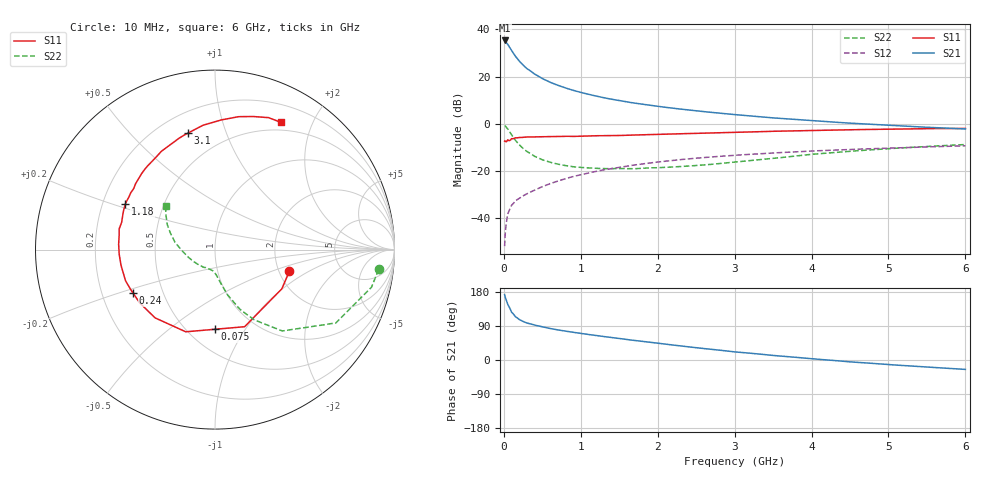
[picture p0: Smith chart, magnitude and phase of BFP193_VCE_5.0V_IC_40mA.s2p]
! Infineon Technologies  Discrete & RF Semiconductors
! BFP193
! VCE = 5.0 V,  IC =  40 mA
! Common Emitter S-Parameters:  Jan 2016
# GHz  S  MA  R  50
!  f  S11  S21  S12  S22
! GHz  MAG  ANG  MAG  ANG  MAG  ANG  MAG  ANG
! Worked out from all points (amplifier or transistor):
!   210 points, 10 MHz to 6 GHz, reference 50 ohm
!   highest |S21| = 35.2 dB at 10 MHz (marker M1)
!   |S21| within 3 dB of that: start of sweep to 76.07 MHz
!   unconditionally stable (mu >= 1): 610 MHz to 3.912 GHz
!   at 185 MHz: K = 0.63, MSG = 29.5 dB, |S12| = -31.8 dB
!   at 1.52 GHz: K = 1.07, MAG = 12.4 dB, |S12| = -18.3 dB
!   at 6 GHz: K = 0.94, MSG = 3.6 dB, |S12| = -9.3 dB
!   S11 on the Smith chart (normalised r, x): 10 MHz: 2.28, -0.67; 75 MHz: 0.67, -0.74; 240 MHz: 0.34, -0.22; 1.18 GHz: 0.30, +0.22; 3.1 GHz: 0.32, +0.74; 6 GHz: 0.40, +1.57
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0.01  0.4316 -16.2  57.8 172.5  0.0026 83.2  0.9186 -6.9
0.02  0.4318 -30.4  55.33 164.4  0.0053 83.0  0.8968 -13.5
0.05  0.4602 -69.0  48.1 146.4  0.0123 68.0  0.7874 -31.3
0.075  0.4438 -89.9  41.19 137.9  0.0155 61.6  0.6785 -39.5
0.1  0.4861 -109.6  35.53 126.4  0.0189 57.4  0.5882 -50.4
0.15  0.5061 -131.3  26.78 114.3  0.0234 54.9  0.4487 -60.8
0.2  0.5138 -144.6  21.27 106.9  0.0268 54.8  0.3621 -67.2
0.24  0.5171 -152.1  18.13 102.8  0.0294 54.9  0.3121 -70.3
0.3  0.5277 -160.8  14.72 97.6  0.0333 58.0  0.2609 -74.5
0.4  0.5308 -170.4  11.26 92.0  0.0397 59.4  0.2058 -78.7
0.5  0.5345 -177.3  9.049 87.4  0.0469 61.2  0.174 -81.9
0.6  0.5377 176.8  7.585 83.1  0.0544 62.4  0.1543 -84.7
0.7  0.5395 171.9  6.537 79.4  0.0616 62.8  0.1407 -87.3
0.82  0.5451 167.0  5.599 75.6  0.0708 62.4  0.1296 -90.5
1.02  0.55 158.9  4.526 69.7  0.0855 61.6  0.1192 -95.3
1.18  0.5598 153.2  3.928 65.2  0.0976 60.8  0.1151 -100.3
1.6  0.5755 140.1  2.906 54.0  0.1282 56.5  0.1134 -113.3
2.02  0.5993 128.5  2.32 43.9  0.1571 51.4  0.1185 -128.4
3.1  0.6664 103.0  1.519 19.8  0.2217 37.8  0.1602 -167.6
4.1  0.7282 85.7  1.141 1.7  0.2707 25.9  0.2337 167.4
5.1  0.7756 72.6  0.916 -13.4  0.3101 14.8  0.3055 150.9
6  0.7984 62.6  0.78 -24.8  0.3435 5.3  0.3654 138.8
